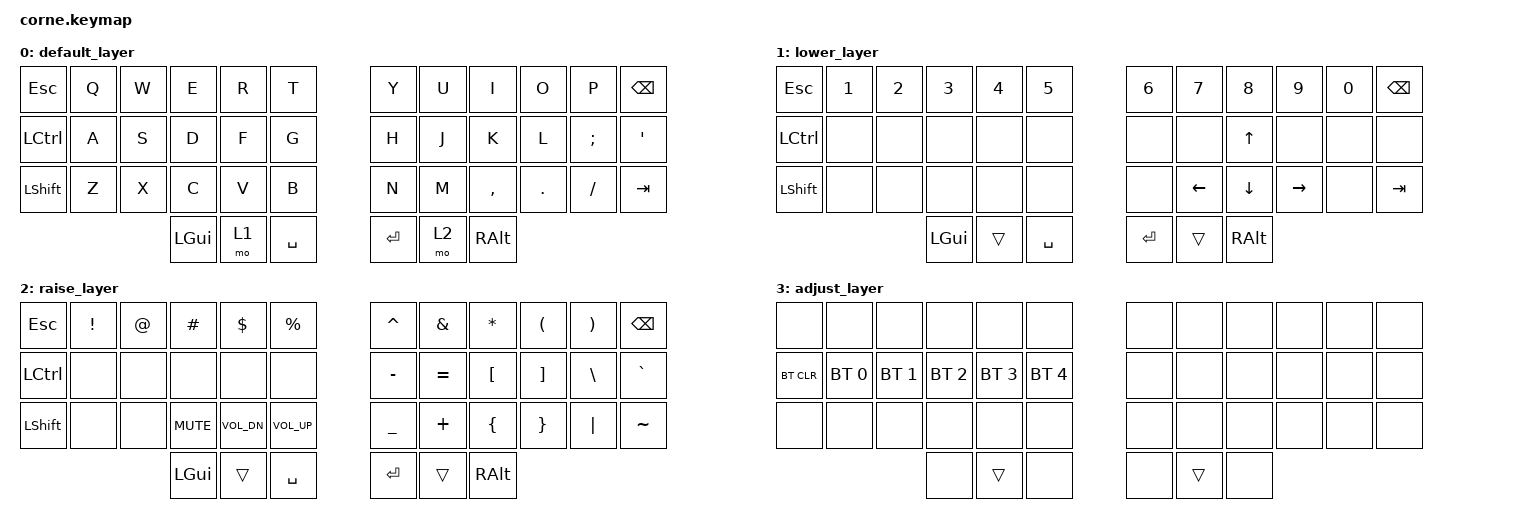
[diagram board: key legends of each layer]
/*
 * Copyright (c) 2020 The ZMK Contributors
 *
 * SPDX-License-Identifier: MIT
 */

#include <behaviors.dtsi>
#include <dt-bindings/zmk/bt.h>
#include <dt-bindings/zmk/keys.h>

/ {
    keymap {
        compatible = "zmk,keymap";

        default_layer {
            // -----------------------------------------------------------------------------------------
            // | ESC  |  Q  |  W  |  E  |  R  |  T  |   |  Y  |  U   |  I  |  O  |  P  | BKSP |
            // | CTRL |  A  |  S  |  D  |  F  |  G  |   |  H  |  J   |  K  |  L  |  ;  |  '   |
            // | SHFT |  Z  |  X  |  C  |  V  |  B  |   |  N  |  M   |  ,  |  .  |  /  | TAB  |
            //                    | GUI | LWR | SPC |   | ENT | RSE  | ALT |

            bindings = <
&kp ESC    &kp Q  &kp W  &kp E     &kp R  &kp T        &kp Y    &kp U  &kp I      &kp O    &kp P     &kp BSPC
&kp LCTRL  &kp A  &kp S  &kp D     &kp F  &kp G        &kp H    &kp J  &kp K      &kp L    &kp SEMI  &kp SQT
&kp LSHFT  &kp Z  &kp X  &kp C     &kp V  &kp B        &kp N    &kp M  &kp COMMA  &kp DOT  &kp FSLH  &kp TAB
                         &kp LGUI  &mo 1  &kp SPACE    &kp RET  &mo 2  &kp RALT
            >;
        };

        lower_layer {
            // -----------------------------------------------------------------------------------------
            // |  ESC |  1  |  2  |  3  |  4  |  5  |   |  6  |  7  |  8  |  9  |  0  | BKSP |
            // | BTCLR| BT1 | BT2 | BT3 | BT4 | BT5 |   |     |     |  UP |     |     |      |
            // | SHFT |     |     |     |     |     |   |     | LFT | DWN | RGT |     | TAB  |
            //                    | GUI |     | SPC |   | ENT |     | ALT |

            bindings = <
&kp ESC    &kp N1  &kp N2  &kp N3    &kp N4  &kp N5       &kp N6   &kp N7    &kp N8    &kp N9     &kp N0  &kp BSPC
&kp LCTRL  &none   &none   &none     &none   &none        &none    &none     &kp UP    &none      &none   &none
&kp LSHFT  &none   &none   &none     &none   &none        &none    &kp LEFT  &kp DOWN  &kp RIGHT  &none   &kp TAB
                           &kp LGUI  &trans  &kp SPACE    &kp RET  &trans    &kp RALT
            >;
        };

        raise_layer {
            // -----------------------------------------------------------------------------------------
            // | ESC  |  !  |  @  |  #  |  $  |  %  |   |  ^  |  &  |  *  |  (  |  )  | BKSP |
            // | CTRL |     |     |     |     |     |   |  -  |  =  |  [  |  ]  |  \  |  `   |
            // | SHFT |     |     | VMT | VDN | VUP |   |  _  |  +  |  {  |  }  | "|" |  ~   |
            //                    | GUI |     | SPC |   | ENT |     | ALT |

            bindings = <
&kp ESC    &kp EXCL  &kp AT  &kp HASH    &kp DLLR      &kp PRCNT       &kp CARET  &kp AMPS   &kp ASTRK  &kp LPAR  &kp RPAR  &kp BSPC
&kp LCTRL  &none     &none   &none       &none         &none           &kp MINUS  &kp EQUAL  &kp LBKT   &kp RBKT  &kp BSLH  &kp GRAVE
&kp LSHFT  &none     &none   &kp K_MUTE  &kp C_VOL_DN  &kp C_VOL_UP    &kp UNDER  &kp PLUS   &kp LBRC   &kp RBRC  &kp PIPE  &kp TILDE
                             &kp LGUI    &trans        &kp SPACE       &kp RET    &trans     &kp RALT
            >;
        };

        adjust_layer {
            bindings = <
&none       &none         &none         &none         &none         &none           &none  &none   &none  &none  &none  &none
&bt BT_CLR  &bt BT_SEL 0  &bt BT_SEL 1  &bt BT_SEL 2  &bt BT_SEL 3  &bt BT_SEL 4    &none  &none   &none  &none  &none  &none
&none       &none         &none         &none         &none         &none           &none  &none   &none  &none  &none  &none
                                        &none         &trans        &none           &none  &trans  &none
            >;
        };
    };

    conditional_layers {
        compatible = "zmk,conditional-layers";

        tri_layer {
            if-layers = <1 2>;
            then-layer = <3>;
        };
    };
};
